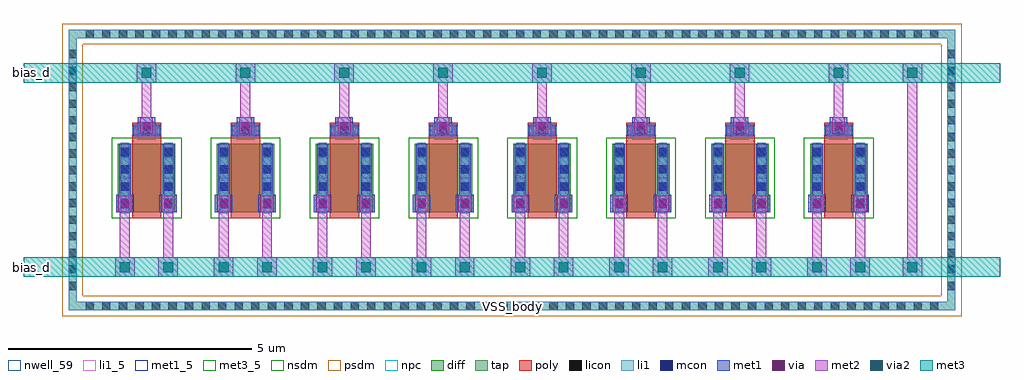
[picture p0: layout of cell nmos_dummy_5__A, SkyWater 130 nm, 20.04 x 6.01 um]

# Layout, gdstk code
import gdstk
lib = gdstk.Library(unit=1e-6, precision=1e-09)
def R(c, l, rs):  # rectangles x0, y0, x1, y1
    for r in rs: c.add(gdstk.rectangle(r[:2], r[2:], *l))
def A(c, l, x, y, w, h, nx, ny, dx, dy):  # array of equal rectangles
    R(c, l, [(x+i*dx, y+j*dy, x+i*dx+w, y+j*dy+h) for i in range(nx) for j in range(ny)])
nwell_59 = (64, 59)
diff = (65, 20)
tap = (65, 44)
poly = (66, 20)
licon = (66, 44)
li1_5 = (67, 5)
li1 = (67, 20)
mcon = (67, 44)
met1_5 = (68, 5)
met1 = (68, 20)
via = (68, 44)
met2 = (69, 20)
via2 = (69, 44)
met3_5 = (70, 5)
met3 = (70, 20)
nsdm = (93, 44)
psdm = (94, 20)
npc = (95, 20)

sky130_fd_pr__nfet_01v8_ = lib.new_cell('sky130_fd_pr__nfet_01v8_RUA5M6')
R(sky130_fd_pr__nfet_01v8_, diff, [(-0.59,-0.855,0.59,0.545)])
R(sky130_fd_pr__nfet_01v8_, poly, [(-0.3,-0.985,0.3,0.985)])
A(sky130_fd_pr__nfet_01v8_, licon, -0.53, -0.75, 0.17, 0.17, 1, 4, 0, 0.34)
A(sky130_fd_pr__nfet_01v8_, licon, 0.36, -0.75, 0.17, 0.17, 1, 4, 0, 0.34)
R(sky130_fd_pr__nfet_01v8_, licon, [(-0.085,0.735,0.085,0.905)])
R(sky130_fd_pr__nfet_01v8_, li1, [(-0.53,-0.875,-0.36,0.565), (0.36,-0.875,0.53,0.565), (-0.3,0.735,0.3,0.905)])
A(sky130_fd_pr__nfet_01v8_, mcon, -0.53, -0.78, 0.17, 0.17, 1, 4, 0, 0.36)
A(sky130_fd_pr__nfet_01v8_, mcon, 0.36, -0.78, 0.17, 0.17, 1, 4, 0, 0.36)
R(sky130_fd_pr__nfet_01v8_, mcon, [(-0.085,0.735,0.085,0.905)])
R(sky130_fd_pr__nfet_01v8_, met1, [(-0.56,-0.855,-0.33,0.545), (0.33,-0.855,0.56,0.545), (-0.28,0.705,0.28,0.935)])
R(sky130_fd_pr__nfet_01v8_, nsdm, [(-0.715,-0.98,0.715,0.67)])
R(sky130_fd_pr__nfet_01v8_, npc, [(-0.185,0.635,0.185,1.005)])
sky130_fd_pr__nfet_01v8_.add(gdstk.Label('D', (-0.445,-0.155), layer=67, texttype=5))
sky130_fd_pr__nfet_01v8_.add(gdstk.Label('S', (0.445,-0.155), layer=67, texttype=5))
sky130_fd_pr__nfet_01v8_.add(gdstk.Label('G', (0,0.82), layer=67, texttype=5))

nfet_01v8_w1p4_l0p6_m8__ = lib.new_cell('nfet_01v8_W1p4_L0p6_m8__nf1_gtop_sdfull_ng')
R(nfet_01v8_w1p4_l0p6_m8__, nwell_59, [(0.05,0.78,0.15,0.88)])
R(nfet_01v8_w1p4_l0p6_m8__, met1_5, [(0.03,0.83,0.26,1.03), (0.92,0.83,1.15,1.03), (0.31,1.69,0.87,1.92)])
R(nfet_01v8_w1p4_l0p6_m8__, met1, [(0.03,0.83,0.26,1.03), (0.92,0.83,1.15,1.03), (0.31,1.69,0.87,1.92)])
nfet_01v8_w1p4_l0p6_m8__.add(gdstk.Reference(sky130_fd_pr__nfet_01v8_, (0.59,0.985)))
nfet_01v8_w1p4_l0p6_m8__.add(gdstk.Label('D', (0.145,0.93), layer=68, texttype=5))
nfet_01v8_w1p4_l0p6_m8__.add(gdstk.Label('S', (1.035,0.93), layer=68, texttype=5))
nfet_01v8_w1p4_l0p6_m8__.add(gdstk.Label('G', (0.59,1.805), layer=68, texttype=5))
nfet_01v8_w1p4_l0p6_m8__.add(gdstk.Label('B', (0.1,0.83), layer=64, texttype=59))

nmos_dummy_5__a = lib.new_cell('nmos_dummy_5__A')
R(nmos_dummy_5__a, tap, [(-0.885,-1.885,17.325,-1.715), (-0.885,-1.715,-0.715,3.705), (17.155,-1.715,17.325,3.705), (-0.885,3.705,17.325,3.875)])
A(nmos_dummy_5__a, licon, -0.535, -1.885, 0.17, 0.17, 52, 2, 0.34, 5.59)
A(nmos_dummy_5__a, licon, -0.885, -1.47, 0.17, 0.17, 1, 15, 0, 0.34)
A(nmos_dummy_5__a, licon, 17.155, -1.47, 0.17, 0.17, 1, 15, 0, 0.34)
R(nmos_dummy_5__a, li1_5, [(8.17,-1.85,8.27,-1.75)])
R(nmos_dummy_5__a, li1, [(-0.885,-1.885,17.325,-1.715), (-0.885,-1.715,-0.715,3.705), (17.155,-1.715,17.325,3.705), (-0.885,3.705,17.325,3.875)])
A(nmos_dummy_5__a, met1, 0.535, 1.72, 0.36, 0.36, 8, 1, 2.03, 0)
R(nmos_dummy_5__a, met1, [(0.09,0.13,0.45,0.49), (0.98,0.13,1.34,0.49), (2.12,0.13,2.48,0.49), (3.01,0.13,3.37,0.49), (4.15,0.13,4.51,0.49), (5.04,0.13,5.4,0.49), (6.18,0.13,6.54,0.49), (7.07,0.13,7.43,0.49), (8.21,0.13,8.57,0.49), (9.1,0.13,9.46,0.49), (10.24,0.13,10.6,0.49), (11.13,0.13,11.49,0.49), (12.27,0.13,12.63,0.49), (13.16,0.13,13.52,0.49), (14.3,0.13,14.66,0.49), (15.19,0.13,15.55,0.49)])
A(nmos_dummy_5__a, via, 0.64, 1.825, 0.15, 0.15, 8, 1, 2.03, 0)
R(nmos_dummy_5__a, via, [(0.195,0.235,0.345,0.385), (1.085,0.235,1.235,0.385), (2.225,0.235,2.375,0.385), (3.115,0.235,3.265,0.385), (4.255,0.235,4.405,0.385), (5.145,0.235,5.295,0.385), (6.285,0.235,6.435,0.385), (7.175,0.235,7.325,0.385), (8.315,0.235,8.465,0.385), (9.205,0.235,9.355,0.385), (10.345,0.235,10.495,0.385), (11.235,0.235,11.385,0.385), (12.375,0.235,12.525,0.385), (13.265,0.235,13.415,0.385), (14.405,0.235,14.555,0.385), (15.295,0.235,15.445,0.385)])
A(nmos_dummy_5__a, met2, 0.585, 1.74, 0.26, 0.32, 8, 1, 2.03, 0)
A(nmos_dummy_5__a, met2, 0.615, 2.06, 0.2, 0.73, 8, 1, 2.03, 0)
A(nmos_dummy_5__a, met2, 0.515, 2.79, 0.4, 0.4, 8, 1, 2.03, 0)
R(nmos_dummy_5__a, met2, [(0.07,-1.2,0.47,-0.8), (0.96,-1.2,1.36,-0.8), (2.1,-1.2,2.5,-0.8), (2.99,-1.2,3.39,-0.8), (4.13,-1.2,4.53,-0.8), (5.02,-1.2,5.42,-0.8), (6.16,-1.2,6.56,-0.8), (7.05,-1.2,7.45,-0.8), (8.19,-1.2,8.59,-0.8), (9.08,-1.2,9.48,-0.8), (10.22,-1.2,10.62,-0.8), (11.11,-1.2,11.51,-0.8), (12.25,-1.2,12.65,-0.8), (13.14,-1.2,13.54,-0.8), (14.28,-1.2,14.68,-0.8), (15.17,-1.2,15.57,-0.8), (16.24,-1.2,16.64,-0.8), (0.17,-0.8,0.37,0.15), (1.06,-0.8,1.26,0.15), (2.2,-0.8,2.4,0.15), (3.09,-0.8,3.29,0.15), (4.23,-0.8,4.43,0.15), (5.12,-0.8,5.32,0.15), (6.26,-0.8,6.46,0.15), (7.15,-0.8,7.35,0.15), (8.29,-0.8,8.49,0.15), (9.18,-0.8,9.38,0.15), (10.32,-0.8,10.52,0.15), (11.21,-0.8,11.41,0.15), (12.35,-0.8,12.55,0.15), (13.24,-0.8,13.44,0.15), (14.38,-0.8,14.58,0.15), (15.27,-0.8,15.47,0.15), (16.34,-0.8,16.54,2.79), (0.14,0.15,0.4,0.47), (1.03,0.15,1.29,0.47), (2.17,0.15,2.43,0.47), (3.06,0.15,3.32,0.47), (4.2,0.15,4.46,0.47), (5.09,0.15,5.35,0.47), (6.23,0.15,6.49,0.47), (7.12,0.15,7.38,0.47), (8.26,0.15,8.52,0.47), (9.15,0.15,9.41,0.47), (10.29,0.15,10.55,0.47), (11.18,0.15,11.44,0.47), (12.32,0.15,12.58,0.47), (13.21,0.15,13.47,0.47), (14.35,0.15,14.61,0.47), (15.24,0.15,15.5,0.47), (16.24,2.79,16.64,3.19)])
A(nmos_dummy_5__a, via2, 0.615, 2.89, 0.2, 0.2, 8, 1, 2.03, 0)
R(nmos_dummy_5__a, via2, [(0.17,-1.1,0.37,-0.9), (1.06,-1.1,1.26,-0.9), (2.2,-1.1,2.4,-0.9), (3.09,-1.1,3.29,-0.9), (4.23,-1.1,4.43,-0.9), (5.12,-1.1,5.32,-0.9), (6.26,-1.1,6.46,-0.9), (7.15,-1.1,7.35,-0.9), (8.29,-1.1,8.49,-0.9), (9.18,-1.1,9.38,-0.9), (10.32,-1.1,10.52,-0.9), (11.21,-1.1,11.41,-0.9), (12.35,-1.1,12.55,-0.9), (13.24,-1.1,13.44,-0.9), (14.38,-1.1,14.58,-0.9), (15.27,-1.1,15.47,-0.9), (16.34,-1.1,16.54,-0.9), (16.34,2.89,16.54,3.09)])
R(nmos_dummy_5__a, met3_5, [(-1.7,-1.05,-1.6,-0.95), (-1.7,2.94,-1.6,3.04)])
R(nmos_dummy_5__a, met3, [(-1.8,-1.2,18.24,-0.8), (-1.8,2.79,18.24,3.19)])
R(nmos_dummy_5__a, psdm, [(-1.01,-2.01,17.45,-1.59), (-1.01,-1.59,-0.59,3.58), (17.03,-1.59,17.45,3.58), (-1.01,3.58,17.45,4)])
nmos_dummy_5__a.add(gdstk.Reference(nfet_01v8_w1p4_l0p6_m8__, (14.34,0)))
nmos_dummy_5__a.add(gdstk.Reference(nfet_01v8_w1p4_l0p6_m8__, (12.31,0)))
nmos_dummy_5__a.add(gdstk.Reference(nfet_01v8_w1p4_l0p6_m8__, (10.28,0)))
nmos_dummy_5__a.add(gdstk.Reference(nfet_01v8_w1p4_l0p6_m8__, (8.25,0)))
nmos_dummy_5__a.add(gdstk.Reference(nfet_01v8_w1p4_l0p6_m8__, (6.22,0)))
nmos_dummy_5__a.add(gdstk.Reference(nfet_01v8_w1p4_l0p6_m8__, (4.19,0)))
nmos_dummy_5__a.add(gdstk.Reference(nfet_01v8_w1p4_l0p6_m8__, (2.16,0)))
nmos_dummy_5__a.add(gdstk.Reference(nfet_01v8_w1p4_l0p6_m8__, (0.13,0)))
nmos_dummy_5__a.add(gdstk.Label('bias_d', (-1.65,2.99), layer=70, texttype=5))
nmos_dummy_5__a.add(gdstk.Label('bias_d', (-1.65,-1), layer=70, texttype=5))
nmos_dummy_5__a.add(gdstk.Label('VSS_body', (8.22,-1.8), layer=67, texttype=5))

lib.write_gds('nmos_dummy_5__A.gds')
